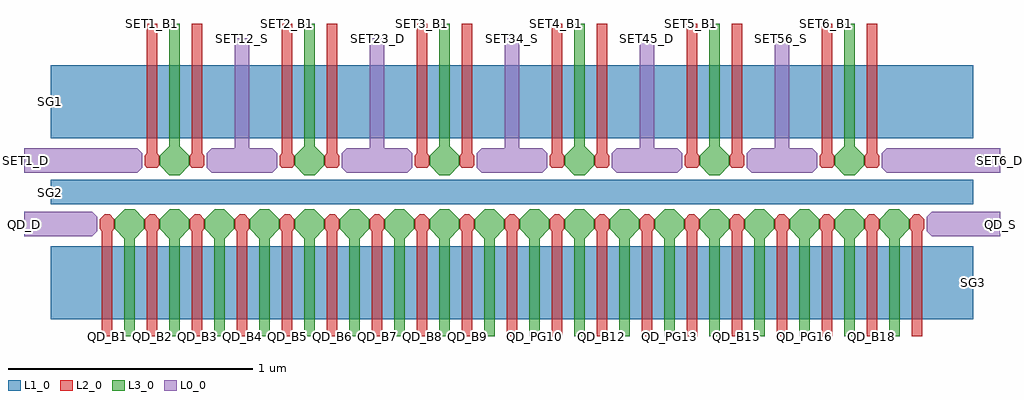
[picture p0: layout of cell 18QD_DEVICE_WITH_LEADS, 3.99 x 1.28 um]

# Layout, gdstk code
import gdstk
lib = gdstk.Library(unit=1e-6, precision=1e-09)
def R(c, l, rs):  # rectangles x0, y0, x1, y1
    for r in rs: c.add(gdstk.rectangle(r[:2], r[2:], *l))
def P(c, l, *ps):  # polygons
    for p in ps: c.add(gdstk.Polygon(p, *l))
L0_0 = (0, 0)
L1_0 = (1, 0)
L2_0 = (2, 0)
L3_0 = (3, 0)

c_18qd_device_with_leads = lib.new_cell('18QD_DEVICE_WITH_LEADS')
P(c_18qd_device_with_leads, L0_0, [(-0.34,-0.05),(-0.06,-0.05),(-0.04,-0.03),(-0.04,0.03),(-0.06,0.05),(-0.34,0.05)],
  [(3.352,-0.03),(3.372,-0.05),(3.652,-0.05),(3.652,0.05),(3.372,0.05),(3.352,0.03)],
  [(-0.34,0.21),(0.124,0.21),(0.144,0.23),(0.144,0.29),(0.124,0.31),(-0.34,0.31)],
  [(3.168,0.23),(3.188,0.21),(3.652,0.21),(3.652,0.31),(3.188,0.31),(3.168,0.29)],
  [(0.696,0.23),(0.696,0.29),(0.676,0.31),(0.582,0.31),(0.582,0.76),(0.522,0.76),(0.522,0.31),(0.428,0.31),(0.408,0.29),(0.408,0.23),(0.428,0.21),(0.676,0.21)],
  [(1.248,0.23),(1.248,0.29),(1.228,0.31),(1.134,0.31),(1.134,0.76),(1.074,0.76),(1.074,0.31),(0.98,0.31),(0.96,0.29),(0.96,0.23),(0.98,0.21),(1.228,0.21)],
  [(1.8,0.23),(1.8,0.29),(1.78,0.31),(1.686,0.31),(1.686,0.76),(1.626,0.76),(1.626,0.31),(1.532,0.31),(1.512,0.29),(1.512,0.23),(1.532,0.21),(1.78,0.21)],
  [(2.352,0.23),(2.352,0.29),(2.332,0.31),(2.238,0.31),(2.238,0.76),(2.178,0.76),(2.178,0.31),(2.084,0.31),(2.064,0.29),(2.064,0.23),(2.084,0.21),(2.332,0.21)],
  [(2.904,0.23),(2.904,0.29),(2.884,0.31),(2.79,0.31),(2.79,0.76),(2.73,0.76),(2.73,0.31),(2.636,0.31),(2.616,0.29),(2.616,0.23),(2.636,0.21),(2.884,0.21)])
R(c_18qd_device_with_leads, L1_0, [(-0.23,-0.39,3.542,-0.09), (-0.23,0.08,3.542,0.18), (-0.23,0.35,3.542,0.65)])
P(c_18qd_device_with_leads, L2_0, [(0.021,-0.029),(0.03,-0.02),(0.03,0.02),(0.01,0.04),(-0.01,0.04),(-0.03,0.02),(-0.03,-0.02),(-0.021,-0.029),(-0.021,-0.46),(0.021,-0.46)],
  [(0.205,-0.029),(0.214,-0.02),(0.214,0.02),(0.194,0.04),(0.174,0.04),(0.154,0.02),(0.154,-0.02),(0.163,-0.029),(0.163,-0.46),(0.205,-0.46)],
  [(0.389,-0.029),(0.398,-0.02),(0.398,0.02),(0.378,0.04),(0.358,0.04),(0.338,0.02),(0.338,-0.02),(0.347,-0.029),(0.347,-0.46),(0.389,-0.46)],
  [(0.573,-0.029),(0.582,-0.02),(0.582,0.02),(0.562,0.04),(0.542,0.04),(0.522,0.02),(0.522,-0.02),(0.531,-0.029),(0.531,-0.46),(0.573,-0.46)],
  [(0.757,-0.029),(0.766,-0.02),(0.766,0.02),(0.746,0.04),(0.726,0.04),(0.706,0.02),(0.706,-0.02),(0.715,-0.029),(0.715,-0.46),(0.757,-0.46)],
  [(0.941,-0.029),(0.95,-0.02),(0.95,0.02),(0.93,0.04),(0.91,0.04),(0.89,0.02),(0.89,-0.02),(0.899,-0.029),(0.899,-0.46),(0.941,-0.46)],
  [(1.125,-0.029),(1.134,-0.02),(1.134,0.02),(1.114,0.04),(1.094,0.04),(1.074,0.02),(1.074,-0.02),(1.083,-0.029),(1.083,-0.46),(1.125,-0.46)],
  [(1.309,-0.029),(1.318,-0.02),(1.318,0.02),(1.298,0.04),(1.278,0.04),(1.258,0.02),(1.258,-0.02),(1.267,-0.029),(1.267,-0.46),(1.309,-0.46)],
  [(1.493,-0.029),(1.502,-0.02),(1.502,0.02),(1.482,0.04),(1.462,0.04),(1.442,0.02),(1.442,-0.02),(1.451,-0.029),(1.451,-0.46),(1.493,-0.46)],
  [(1.677,-0.029),(1.686,-0.02),(1.686,0.02),(1.666,0.04),(1.646,0.04),(1.626,0.02),(1.626,-0.02),(1.635,-0.029),(1.635,-0.46),(1.677,-0.46)],
  [(1.861,-0.029),(1.87,-0.02),(1.87,0.02),(1.85,0.04),(1.83,0.04),(1.81,0.02),(1.81,-0.02),(1.819,-0.029),(1.819,-0.46),(1.861,-0.46)],
  [(2.045,-0.029),(2.054,-0.02),(2.054,0.02),(2.034,0.04),(2.014,0.04),(1.994,0.02),(1.994,-0.02),(2.003,-0.029),(2.003,-0.46),(2.045,-0.46)],
  [(2.229,-0.029),(2.238,-0.02),(2.238,0.02),(2.218,0.04),(2.198,0.04),(2.178,0.02),(2.178,-0.02),(2.187,-0.029),(2.187,-0.46),(2.229,-0.46)],
  [(2.413,-0.029),(2.422,-0.02),(2.422,0.02),(2.402,0.04),(2.382,0.04),(2.362,0.02),(2.362,-0.02),(2.371,-0.029),(2.371,-0.46),(2.413,-0.46)],
  [(2.597,-0.029),(2.606,-0.02),(2.606,0.02),(2.586,0.04),(2.566,0.04),(2.546,0.02),(2.546,-0.02),(2.555,-0.029),(2.555,-0.46),(2.597,-0.46)],
  [(2.781,-0.029),(2.79,-0.02),(2.79,0.02),(2.77,0.04),(2.75,0.04),(2.73,0.02),(2.73,-0.02),(2.739,-0.029),(2.739,-0.46),(2.781,-0.46)],
  [(2.965,-0.029),(2.974,-0.02),(2.974,0.02),(2.954,0.04),(2.934,0.04),(2.914,0.02),(2.914,-0.02),(2.923,-0.029),(2.923,-0.46),(2.965,-0.46)],
  [(3.149,-0.029),(3.158,-0.02),(3.158,0.02),(3.138,0.04),(3.118,0.04),(3.098,0.02),(3.098,-0.02),(3.107,-0.029),(3.107,-0.46),(3.149,-0.46)],
  [(3.333,-0.029),(3.342,-0.02),(3.342,0.02),(3.322,0.04),(3.302,0.04),(3.282,0.02),(3.282,-0.02),(3.291,-0.029),(3.291,-0.46),(3.333,-0.46)],
  [(0.214,0.24),(0.214,0.28),(0.205,0.289),(0.205,0.82),(0.163,0.82),(0.163,0.289),(0.154,0.28),(0.154,0.24),(0.163,0.231),(0.205,0.231)],
  [(0.398,0.24),(0.398,0.28),(0.389,0.289),(0.389,0.82),(0.347,0.82),(0.347,0.289),(0.338,0.28),(0.338,0.24),(0.347,0.231),(0.389,0.231)],
  [(0.766,0.24),(0.766,0.28),(0.757,0.289),(0.757,0.82),(0.715,0.82),(0.715,0.289),(0.706,0.28),(0.706,0.24),(0.715,0.231),(0.757,0.231)],
  [(0.95,0.24),(0.95,0.28),(0.941,0.289),(0.941,0.82),(0.899,0.82),(0.899,0.289),(0.89,0.28),(0.89,0.24),(0.899,0.231),(0.941,0.231)],
  [(1.318,0.24),(1.318,0.28),(1.309,0.289),(1.309,0.82),(1.267,0.82),(1.267,0.289),(1.258,0.28),(1.258,0.24),(1.267,0.231),(1.309,0.231)],
  [(1.502,0.24),(1.502,0.28),(1.493,0.289),(1.493,0.82),(1.451,0.82),(1.451,0.289),(1.442,0.28),(1.442,0.24),(1.451,0.231),(1.493,0.231)],
  [(1.87,0.24),(1.87,0.28),(1.861,0.289),(1.861,0.82),(1.819,0.82),(1.819,0.289),(1.81,0.28),(1.81,0.24),(1.819,0.231),(1.861,0.231)],
  [(2.054,0.24),(2.054,0.28),(2.045,0.289),(2.045,0.82),(2.003,0.82),(2.003,0.289),(1.994,0.28),(1.994,0.24),(2.003,0.231),(2.045,0.231)],
  [(2.422,0.24),(2.422,0.28),(2.413,0.289),(2.413,0.82),(2.371,0.82),(2.371,0.289),(2.362,0.28),(2.362,0.24),(2.371,0.231),(2.413,0.231)],
  [(2.606,0.24),(2.606,0.28),(2.597,0.289),(2.597,0.82),(2.555,0.82),(2.555,0.289),(2.546,0.28),(2.546,0.24),(2.555,0.231),(2.597,0.231)],
  [(2.974,0.24),(2.974,0.28),(2.965,0.289),(2.965,0.82),(2.923,0.82),(2.923,0.289),(2.914,0.28),(2.914,0.24),(2.923,0.231),(2.965,0.231)],
  [(3.158,0.24),(3.158,0.28),(3.149,0.289),(3.149,0.82),(3.107,0.82),(3.107,0.289),(3.098,0.28),(3.098,0.24),(3.107,0.231),(3.149,0.231)])
P(c_18qd_device_with_leads, L3_0, [(0.113,-0.06),(0.152,-0.02),(0.152,0.02),(0.112,0.06),(0.072,0.06),(0.032,0.02),(0.032,-0.02),(0.071,-0.06),(0.071,-0.46),(0.113,-0.46)],
  [(0.297,-0.06),(0.336,-0.02),(0.336,0.02),(0.296,0.06),(0.256,0.06),(0.216,0.02),(0.216,-0.02),(0.255,-0.06),(0.255,-0.46),(0.297,-0.46)],
  [(0.481,-0.06),(0.52,-0.02),(0.52,0.02),(0.48,0.06),(0.44,0.06),(0.4,0.02),(0.4,-0.02),(0.439,-0.06),(0.439,-0.46),(0.481,-0.46)],
  [(0.665,-0.06),(0.704,-0.02),(0.704,0.02),(0.664,0.06),(0.624,0.06),(0.584,0.02),(0.584,-0.02),(0.623,-0.06),(0.623,-0.46),(0.665,-0.46)],
  [(0.849,-0.06),(0.888,-0.02),(0.888,0.02),(0.848,0.06),(0.808,0.06),(0.768,0.02),(0.768,-0.02),(0.807,-0.06),(0.807,-0.46),(0.849,-0.46)],
  [(1.033,-0.06),(1.072,-0.02),(1.072,0.02),(1.032,0.06),(0.992,0.06),(0.952,0.02),(0.952,-0.02),(0.991,-0.06),(0.991,-0.46),(1.033,-0.46)],
  [(1.217,-0.06),(1.256,-0.02),(1.256,0.02),(1.216,0.06),(1.176,0.06),(1.136,0.02),(1.136,-0.02),(1.175,-0.06),(1.175,-0.46),(1.217,-0.46)],
  [(1.401,-0.06),(1.44,-0.02),(1.44,0.02),(1.4,0.06),(1.36,0.06),(1.32,0.02),(1.32,-0.02),(1.359,-0.06),(1.359,-0.46),(1.401,-0.46)],
  [(1.585,-0.06),(1.624,-0.02),(1.624,0.02),(1.584,0.06),(1.544,0.06),(1.504,0.02),(1.504,-0.02),(1.543,-0.06),(1.543,-0.46),(1.585,-0.46)],
  [(1.769,-0.06),(1.808,-0.02),(1.808,0.02),(1.768,0.06),(1.728,0.06),(1.688,0.02),(1.688,-0.02),(1.727,-0.06),(1.727,-0.46),(1.769,-0.46)],
  [(1.953,-0.06),(1.992,-0.02),(1.992,0.02),(1.952,0.06),(1.912,0.06),(1.872,0.02),(1.872,-0.02),(1.911,-0.06),(1.911,-0.46),(1.953,-0.46)],
  [(2.137,-0.06),(2.176,-0.02),(2.176,0.02),(2.136,0.06),(2.096,0.06),(2.056,0.02),(2.056,-0.02),(2.095,-0.06),(2.095,-0.46),(2.137,-0.46)],
  [(2.321,-0.06),(2.36,-0.02),(2.36,0.02),(2.32,0.06),(2.28,0.06),(2.24,0.02),(2.24,-0.02),(2.279,-0.06),(2.279,-0.46),(2.321,-0.46)],
  [(2.505,-0.06),(2.544,-0.02),(2.544,0.02),(2.504,0.06),(2.464,0.06),(2.424,0.02),(2.424,-0.02),(2.463,-0.06),(2.463,-0.46),(2.505,-0.46)],
  [(2.689,-0.06),(2.728,-0.02),(2.728,0.02),(2.688,0.06),(2.648,0.06),(2.608,0.02),(2.608,-0.02),(2.647,-0.06),(2.647,-0.46),(2.689,-0.46)],
  [(2.873,-0.06),(2.912,-0.02),(2.912,0.02),(2.872,0.06),(2.832,0.06),(2.792,0.02),(2.792,-0.02),(2.831,-0.06),(2.831,-0.46),(2.873,-0.46)],
  [(3.057,-0.06),(3.096,-0.02),(3.096,0.02),(3.056,0.06),(3.016,0.06),(2.976,0.02),(2.976,-0.02),(3.015,-0.06),(3.015,-0.46),(3.057,-0.46)],
  [(3.241,-0.06),(3.28,-0.02),(3.28,0.02),(3.24,0.06),(3.2,0.06),(3.16,0.02),(3.16,-0.02),(3.199,-0.06),(3.199,-0.46),(3.241,-0.46)],
  [(0.336,0.24),(0.336,0.28),(0.297,0.319),(0.297,0.82),(0.255,0.82),(0.255,0.319),(0.216,0.28),(0.216,0.24),(0.255,0.2),(0.297,0.2)],
  [(0.888,0.24),(0.888,0.28),(0.849,0.319),(0.849,0.82),(0.807,0.82),(0.807,0.319),(0.768,0.28),(0.768,0.24),(0.807,0.2),(0.849,0.2)],
  [(1.44,0.24),(1.44,0.28),(1.401,0.319),(1.401,0.82),(1.359,0.82),(1.359,0.319),(1.32,0.28),(1.32,0.24),(1.359,0.2),(1.401,0.2)],
  [(1.992,0.24),(1.992,0.28),(1.953,0.319),(1.953,0.82),(1.911,0.82),(1.911,0.319),(1.872,0.28),(1.872,0.24),(1.911,0.2),(1.953,0.2)],
  [(2.544,0.24),(2.544,0.28),(2.505,0.319),(2.505,0.82),(2.463,0.82),(2.463,0.319),(2.424,0.28),(2.424,0.24),(2.463,0.2),(2.505,0.2)],
  [(3.096,0.24),(3.096,0.28),(3.057,0.319),(3.057,0.82),(3.015,0.82),(3.015,0.319),(2.976,0.28),(2.976,0.24),(3.015,0.2),(3.057,0.2)])
c_18qd_device_with_leads.add(gdstk.Label('QD_B1', (0,-0.46), layer=100, texttype=0))
c_18qd_device_with_leads.add(gdstk.Label('QD_PG1', (0.092,-0.46), layer=100, texttype=0))
c_18qd_device_with_leads.add(gdstk.Label('QD_B2', (0.184,-0.46), layer=100, texttype=0))
c_18qd_device_with_leads.add(gdstk.Label('QD_PG2', (0.276,-0.46), layer=100, texttype=0))
c_18qd_device_with_leads.add(gdstk.Label('QD_B3', (0.368,-0.46), layer=100, texttype=0))
c_18qd_device_with_leads.add(gdstk.Label('QD_PG3', (0.46,-0.46), layer=100, texttype=0))
c_18qd_device_with_leads.add(gdstk.Label('QD_B4', (0.552,-0.46), layer=100, texttype=0))
c_18qd_device_with_leads.add(gdstk.Label('QD_PG4', (0.644,-0.46), layer=100, texttype=0))
c_18qd_device_with_leads.add(gdstk.Label('QD_B5', (0.736,-0.46), layer=100, texttype=0))
c_18qd_device_with_leads.add(gdstk.Label('QD_PG5', (0.828,-0.46), layer=100, texttype=0))
c_18qd_device_with_leads.add(gdstk.Label('QD_B6', (0.92,-0.46), layer=100, texttype=0))
c_18qd_device_with_leads.add(gdstk.Label('QD_PG6', (1.012,-0.46), layer=100, texttype=0))
c_18qd_device_with_leads.add(gdstk.Label('QD_B7', (1.104,-0.46), layer=100, texttype=0))
c_18qd_device_with_leads.add(gdstk.Label('QD_PG7', (1.196,-0.46), layer=100, texttype=0))
c_18qd_device_with_leads.add(gdstk.Label('QD_B8', (1.288,-0.46), layer=100, texttype=0))
c_18qd_device_with_leads.add(gdstk.Label('QD_PG8', (1.38,-0.46), layer=100, texttype=0))
c_18qd_device_with_leads.add(gdstk.Label('QD_B9', (1.472,-0.46), layer=100, texttype=0))
c_18qd_device_with_leads.add(gdstk.Label('QD_PG9', (1.564,-0.46), layer=100, texttype=0))
c_18qd_device_with_leads.add(gdstk.Label('QD_B10', (1.656,-0.46), layer=100, texttype=0))
c_18qd_device_with_leads.add(gdstk.Label('QD_PG10', (1.748,-0.46), layer=100, texttype=0))
c_18qd_device_with_leads.add(gdstk.Label('QD_B11', (1.84,-0.46), layer=100, texttype=0))
c_18qd_device_with_leads.add(gdstk.Label('QD_PG11', (1.932,-0.46), layer=100, texttype=0))
c_18qd_device_with_leads.add(gdstk.Label('QD_B12', (2.024,-0.46), layer=100, texttype=0))
c_18qd_device_with_leads.add(gdstk.Label('QD_PG12', (2.116,-0.46), layer=100, texttype=0))
c_18qd_device_with_leads.add(gdstk.Label('QD_B13', (2.208,-0.46), layer=100, texttype=0))
c_18qd_device_with_leads.add(gdstk.Label('QD_PG13', (2.3,-0.46), layer=100, texttype=0))
c_18qd_device_with_leads.add(gdstk.Label('QD_B14', (2.392,-0.46), layer=100, texttype=0))
c_18qd_device_with_leads.add(gdstk.Label('QD_PG14', (2.484,-0.46), layer=100, texttype=0))
c_18qd_device_with_leads.add(gdstk.Label('QD_B15', (2.576,-0.46), layer=100, texttype=0))
c_18qd_device_with_leads.add(gdstk.Label('QD_PG15', (2.668,-0.46), layer=100, texttype=0))
c_18qd_device_with_leads.add(gdstk.Label('QD_B16', (2.76,-0.46), layer=100, texttype=0))
c_18qd_device_with_leads.add(gdstk.Label('QD_PG16', (2.852,-0.46), layer=100, texttype=0))
c_18qd_device_with_leads.add(gdstk.Label('QD_B17', (2.944,-0.46), layer=100, texttype=0))
c_18qd_device_with_leads.add(gdstk.Label('QD_PG17', (3.036,-0.46), layer=100, texttype=0))
c_18qd_device_with_leads.add(gdstk.Label('QD_B18', (3.128,-0.46), layer=100, texttype=0))
c_18qd_device_with_leads.add(gdstk.Label('QD_PG18', (3.22,-0.46), layer=100, texttype=0))
c_18qd_device_with_leads.add(gdstk.Label('QD_B19', (3.312,-0.46), layer=100, texttype=0))
c_18qd_device_with_leads.add(gdstk.Label('SET1_B1', (0.184,0.82), layer=100, texttype=0))
c_18qd_device_with_leads.add(gdstk.Label('SET1_G', (0.276,0.82), layer=100, texttype=0))
c_18qd_device_with_leads.add(gdstk.Label('SET1_B2', (0.368,0.82), layer=100, texttype=0))
c_18qd_device_with_leads.add(gdstk.Label('SET2_B1', (0.736,0.82), layer=100, texttype=0))
c_18qd_device_with_leads.add(gdstk.Label('SET2_G', (0.828,0.82), layer=100, texttype=0))
c_18qd_device_with_leads.add(gdstk.Label('SET2_B2', (0.92,0.82), layer=100, texttype=0))
c_18qd_device_with_leads.add(gdstk.Label('SET3_B1', (1.288,0.82), layer=100, texttype=0))
c_18qd_device_with_leads.add(gdstk.Label('SET3_G', (1.38,0.82), layer=100, texttype=0))
c_18qd_device_with_leads.add(gdstk.Label('SET3_B2', (1.472,0.82), layer=100, texttype=0))
c_18qd_device_with_leads.add(gdstk.Label('SET4_B1', (1.84,0.82), layer=100, texttype=0))
c_18qd_device_with_leads.add(gdstk.Label('SET4_G', (1.932,0.82), layer=100, texttype=0))
c_18qd_device_with_leads.add(gdstk.Label('SET4_B2', (2.024,0.82), layer=100, texttype=0))
c_18qd_device_with_leads.add(gdstk.Label('SET5_B1', (2.392,0.82), layer=100, texttype=0))
c_18qd_device_with_leads.add(gdstk.Label('SET5_G', (2.484,0.82), layer=100, texttype=0))
c_18qd_device_with_leads.add(gdstk.Label('SET5_B2', (2.576,0.82), layer=100, texttype=0))
c_18qd_device_with_leads.add(gdstk.Label('SET6_B1', (2.944,0.82), layer=100, texttype=0))
c_18qd_device_with_leads.add(gdstk.Label('SET6_G', (3.036,0.82), layer=100, texttype=0))
c_18qd_device_with_leads.add(gdstk.Label('SET6_B2', (3.128,0.82), layer=100, texttype=0))
c_18qd_device_with_leads.add(gdstk.Label('SG1', (-0.23,0.5), layer=100, texttype=0))
c_18qd_device_with_leads.add(gdstk.Label('SG2', (-0.23,0.13), layer=100, texttype=0))
c_18qd_device_with_leads.add(gdstk.Label('SG3', (3.542,-0.24), layer=100, texttype=0))
c_18qd_device_with_leads.add(gdstk.Label('QD_D', (-0.34,0), layer=100, texttype=0))
c_18qd_device_with_leads.add(gdstk.Label('QD_S', (3.652,0), layer=100, texttype=0))
c_18qd_device_with_leads.add(gdstk.Label('SET1_D', (-0.34,0.26), layer=100, texttype=0))
c_18qd_device_with_leads.add(gdstk.Label('SET6_D', (3.652,0.26), layer=100, texttype=0))
c_18qd_device_with_leads.add(gdstk.Label('SET12_S', (0.552,0.76), layer=100, texttype=0))
c_18qd_device_with_leads.add(gdstk.Label('SET23_D', (1.104,0.76), layer=100, texttype=0))
c_18qd_device_with_leads.add(gdstk.Label('SET34_S', (1.656,0.76), layer=100, texttype=0))
c_18qd_device_with_leads.add(gdstk.Label('SET45_D', (2.208,0.76), layer=100, texttype=0))
c_18qd_device_with_leads.add(gdstk.Label('SET56_S', (2.76,0.76), layer=100, texttype=0))

lib.write_gds('18QD_DEVICE_WITH_LEADS.gds')
